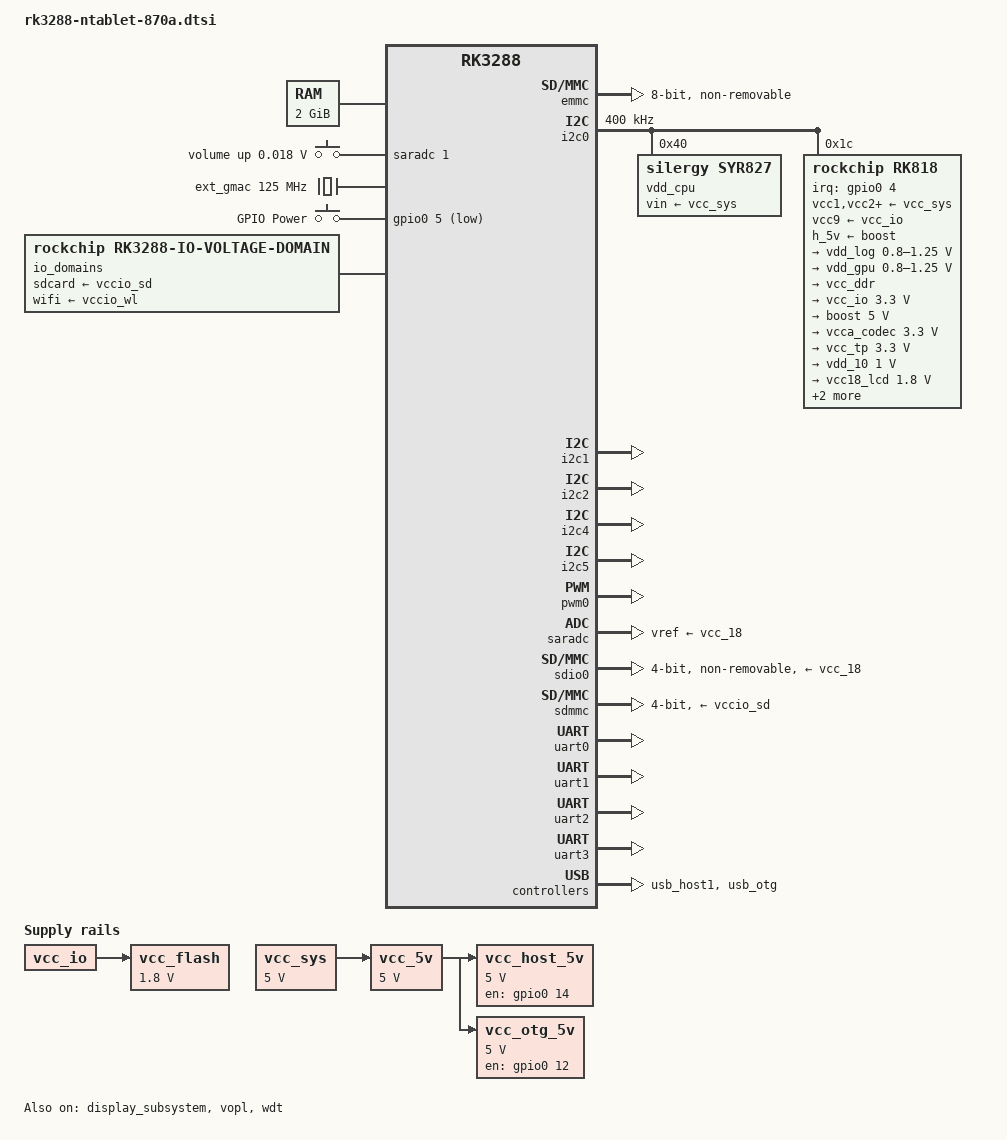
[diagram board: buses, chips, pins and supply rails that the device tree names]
/*
 * (C) Copyright 2019 YeaCreate Co., Ltd
 *
 * SPDX-License-Identifier:     GPL-2.0+ X11
 */

#include <dt-bindings/clock/rockchip,rk808.h>
#include <dt-bindings/pwm/pwm.h>
#include <dt-bindings/input/input.h>
#include <dt-bindings/media/rockchip_mipi_dsi.h>
#include "rk3288.dtsi"
#include "rk3288-u-boot.dtsi"

/ {
	memory {
		reg = <0 0x80000000>;
	};

	adc-keys {
		compatible = "adc-keys";
		io-channels = <&saradc 1>;
		status = "okay";
		keyup-threshold-microvolt = <1800000>;

		volup-key {
			linux,code = <KEY_VOLUMEUP>;
			label = "volume up";
			press-threshold-microvolt = <18000>;
		};
		
	};

	ext_gmac: external-gmac-clock {
		compatible = "fixed-clock";
		#clock-cells = <0>;
		clock-frequency = <125000000>;
		clock-output-names = "ext_gmac";
	};

	keys: gpio-keys {
		compatible = "gpio-keys";
		#address-cells = <1>;
		#size-cells = <0>;

		button@0 {
			gpio-key,wakeup = <1>;
			gpios = <&gpio0 5 GPIO_ACTIVE_LOW>;
			label = "GPIO Power";
			linux,code = <116>;
			pinctrl-names = "default";
			pinctrl-0 = <&pwr_key>;
		};
	};
	
	io_domains: io_domains {
		compatible = "rockchip,rk3288-io-voltage-domain";

		status = "okay";
		sdcard-supply = <&vccio_sd>;
		wifi-supply = <&vccio_wl>;
	};

	vcc_sys: vsys-regulator {
		compatible = "regulator-fixed";
		regulator-name = "vcc_sys";
		regulator-min-microvolt = <5000000>;
		regulator-max-microvolt = <5000000>;
		regulator-always-on;
		regulator-boot-on;
	};

	vcc_flash: flash-regulator {
		compatible = "regulator-fixed";
		regulator-name = "vcc_flash";
		regulator-min-microvolt = <1800000>;
		regulator-max-microvolt = <1800000>;
		vin-supply = <&vcc_io>;
	};

	vcc_5v: usb-regulator {
		compatible = "regulator-fixed";
		regulator-name = "vcc_5v";
		regulator-min-microvolt = <5000000>;
		regulator-max-microvolt = <5000000>;
		regulator-always-on;
		regulator-boot-on;
		vin-supply = <&vcc_sys>;
	};

	vcc_host_5v: usb-host-regulator {
		compatible = "regulator-fixed";
		enable-active-high;
		gpio = <&gpio0 14 GPIO_ACTIVE_HIGH>;
		pinctrl-names = "default";
		pinctrl-0 = <&host_vbus_drv>;
		regulator-name = "vcc_host_5v";
		regulator-min-microvolt = <5000000>;
		regulator-max-microvolt = <5000000>;
		regulator-always-on;
		vin-supply = <&vcc_5v>;
	};

	vcc_otg_5v: usb-otg-regulator {
		compatible = "regulator-fixed";
		enable-active-high;
		gpio = <&gpio0 12 GPIO_ACTIVE_HIGH>;
		pinctrl-names = "default";
		pinctrl-0 = <&otg_vbus_drv>;
		regulator-name = "vcc_otg_5v";
		regulator-min-microvolt = <5000000>;
		regulator-max-microvolt = <5000000>;
		regulator-always-on;
		vin-supply = <&vcc_5v>;
	};

};

&cpu0 {
	cpu0-supply = <&vdd_cpu>;
};

&display_subsystem {
	status = "okay";
};


&emmc {
	broken-cd;
	bus-width = <8>;
	cap-mmc-highspeed;
	disable-wp;
	non-removable;
	num-slots = <1>;
	pinctrl-names = "default";
	pinctrl-0 = <&emmc_clk>, <&emmc_cmd>, <&emmc_pwr>, <&emmc_bus8>;
	vqmmc-supply = <&vcc_flash>;
	status = "okay";
};


&i2c0 {
	clock-frequency = <400000>;
	status = "okay";

	vdd_cpu: syr827@40 {
		compatible = "silergy,syr827";
		fcs,suspend-voltage-selector = <1>;
		reg = <0x40>;
		regulator-name = "vdd_cpu";
		regulator-min-microvolt = <850000>;
		regulator-max-microvolt = <1350000>;
		regulator-always-on;
		regulator-boot-on;
		vin-supply = <&vcc_sys>;
	};

	rk818: pmic@1c {
		status = "okay";
		compatible = "rockchip,rk818";
		reg = <0x1c>;
		interrupt-parent = <&gpio0>;
		interrupts = <4 IRQ_TYPE_LEVEL_LOW>;
		pinctrl-names = "default";
		pinctrl-0 = <&pmic_int>;
		rockchip,system-power-controller;
		wakeup-source;
		#clock-cells = <1>;
		u-boot,dm-pre-reloc;

		vcc1-supply = <&vcc_sys>;
		vcc2-supply = <&vcc_sys>;
		vcc3-supply = <&vcc_sys>;
		vcc4-supply = <&vcc_sys>;
		vcc6-supply = <&vcc_sys>;
		vcc7-supply = <&vcc_sys>;
		vcc8-supply = <&vcc_sys>;
		vcc9-supply = <&vcc_io>;
		boost-supply = <&vcc_sys>;
		h_5v-supply = <&boost>;

		regulators {
			u-boot,dm-pre-reloc;
			vdd_log: DCDC_REG1 {
				regulator-name = "vdd_log";
				regulator-always-on;
				regulator-boot-on;
				regulator-min-microvolt = <800000>;
				regulator-max-microvolt = <1250000>;
				regulator-state-mem {
					regulator-off-in-suspend;
				};
			};

			vdd_gpu: DCDC_REG2 {
				regulator-name = "vdd_gpu";
				regulator-always-on;
				regulator-boot-on;
				regulator-min-microvolt = <800000>;
				regulator-max-microvolt = <1250000>;
				regulator-state-mem {
					regulator-on-in-suspend;
					regulator-suspend-microvolt = <1000000>;
				};
			};

			vcc_ddr: DCDC_REG3 {
				regulator-name = "vcc_ddr";
				regulator-always-on;
				regulator-boot-on;
				regulator-state-mem {
					regulator-on-in-suspend;
				};
			};

			vcc_io: DCDC_REG4 {
				regulator-always-on;
				regulator-boot-on;
				regulator-min-microvolt = <3300000>;
				regulator-max-microvolt = <3300000>;
				regulator-state-mem {
					regulator-on-in-suspend;
					regulator-suspend-microvolt = <3300000>;
				};
			};
			
			boost: DCDC_BOOST {
				regulator-always-on;
				regulator-boot-on;
				regulator-min-microvolt = <5000000>;
				regulator-max-microvolt = <5000000>;
				regulator-name = "boost";
				regulator-state-mem {
					regulator-on-in-suspend;
					regulator-suspend-microvolt = <5000000>;
				};
			};

			vcca_codec: LDO_REG1 {
				regulator-always-on;
				regulator-boot-on;
				regulator-min-microvolt = <3300000>;
				regulator-max-microvolt = <3300000>;
				regulator-name = "vcca_codec";
				regulator-state-mem {
					regulator-off-in-suspend;
				};
			};

			vcc_tp: LDO_REG2 {
				regulator-always-on;
				regulator-boot-on;
				regulator-min-microvolt = <3300000>;
				regulator-max-microvolt = <3300000>;
				regulator-name = "vcc_tp";
				regulator-state-mem {
					regulator-on-in-suspend;
					regulator-suspend-microvolt = <2500000>;
				};
			};

			vdd_10: LDO_REG3 {
				regulator-always-on;
				regulator-boot-on;
				regulator-min-microvolt = <1000000>;
				regulator-max-microvolt = <1000000>;
				regulator-name = "vdd_10";
				regulator-state-mem {
					regulator-on-in-suspend;
					regulator-suspend-microvolt = <1000000>;
				};
			};

			vcc18_lcd: LDO_REG4 {
				regulator-always-on;
				regulator-boot-on;
				regulator-min-microvolt = <1800000>;
				regulator-max-microvolt = <1800000>;
				regulator-name = "vcc18_lcd";
				regulator-state-mem {
					regulator-on-in-suspend;
					regulator-suspend-microvolt = <1800000>;
				};
			};
			
			vccio_pmu: LDO_REG5 {
				regulator-always-on;
				regulator-boot-on;
				regulator-min-microvolt = <3300000>;
				regulator-max-microvolt = <3300000>;
				regulator-name = "vccio_pmu";
				regulator-state-mem {
					regulator-on-in-suspend;
					regulator-suspend-microvolt = <3300000>;
				};
			};
			
			vdd10_lcd: LDO_REG6 {
				regulator-always-on;
				regulator-boot-on;
				regulator-min-microvolt = <1000000>;
				regulator-max-microvolt = <1000000>;
				regulator-name = "vdd10_lcd";
				regulator-state-mem {
					regulator-on-in-suspend;
					regulator-suspend-microvolt = <1000000>;
				};
			};

			vcc_18: LDO_REG7 {
				regulator-always-on;
				regulator-boot-on;
				regulator-min-microvolt = <1800000>;
				regulator-max-microvolt = <1800000>;
				regulator-name = "vcc_18";
				regulator-state-mem {
					regulator-off-in-suspend;
					regulator-suspend-microvolt = <1800000>;
				};
			};
			
			vccio_wl: LDO_REG8 {
				regulator-always-on;
				regulator-boot-on;
				regulator-min-microvolt = <1800000>;
				regulator-max-microvolt = <3300000>;
				regulator-name = "vccio_wl";
				regulator-state-mem {
					regulator-on-in-suspend;
					regulator-suspend-microvolt = <3300000>;
				};
			};

			vccio_sd: LDO_REG9 {
				regulator-always-on;
				regulator-boot-on;
				regulator-min-microvolt = <1800000>;
				regulator-max-microvolt = <3300000>;
				regulator-name = "vccio_sd";
				regulator-state-mem {
					regulator-on-in-suspend;
					regulator-suspend-microvolt = <3300000>;
				};
			};	

			vcc_sd: SWITCH_REG {
				regulator-always-on;
				regulator-boot-on;
				regulator-name = "vcc_sd";
				regulator-state-mem {
					regulator-on-in-suspend;
				};
			};

			h_5v: HDMI_SWITCH {
				regulator-always-on;
				regulator-boot-on;
				regulator-name = "h_5v";
				regulator-state-mem {
					regulator-on-in-suspend;
				};
			};
			
		};

		battery {
			compatible = "rk818-battery";
			//pinctrl-names = "default";
			//pinctrl-0 = <&dc_irq_gpio>;
			ocv_table = <
				2750 2950 3150 3350 3550 3750 3780
				3810 3840 3870 3900 3950 4000 4010
				4030 4050 4070 4090 4110 4230 4250>;
			design_capacity = <2800>;
			design_qmax = <2800>;
			bat_res = <85>;
			max_input_current = <2000>;
			max_chrg_current = <1000>;
			max_chrg_voltage = <4350>;
			sleep_enter_current = <300>;
			sleep_exit_current = <300>;
			sleep_filter_current = <100>;
			power_off_thresd = <2800>;
			zero_algorithm_vol = <3950>;
			fb_temperature = <105>;
			sample_res = <10>;
			max_soc_offset = <60>;
			energy_mode = <0>;
			monitor_sec = <5>;
			virtual_power = <0>;
			power_dc2otg = <1>;
			support_usb_adp = <1>;
			support_dc_adp = <1>;
			dc_det_gpio = <&gpio0 8 GPIO_ACTIVE_LOW>;
		};
	};
};

&i2c1 {
	status = "okay";
};

&i2c2 {
	status = "okay";
};

&i2c4 {
	status = "okay";
};

&i2c5 {
	status = "okay";
};

&pwm0 {
	status = "okay";
};

&saradc {
	vref-supply = <&vcc_18>;
	status = "okay";
};

&sdio0 {
	broken-cd;
	bus-width = <4>;
	disable-wp;
	non-removable;
	num-slots = <1>;
	pinctrl-names = "default";
	pinctrl-0 = <&sdio0_bus4>, <&sdio0_cmd>, <&sdio0_clk>;
	vmmc-supply = <&vcc_18>;
	status = "okay";
};

&sdmmc {
	bus-width = <4>;
	cap-mmc-highspeed;
	cap-sd-highspeed;
	card-detect-delay = <200>;
	disable-wp;
	num-slots = <1>;
	pinctrl-names = "default";
	pinctrl-0 = <&sdmmc_clk>, <&sdmmc_cmd>, <&sdmmc_cd>, <&sdmmc_bus4>;
	vmmc-supply = <&vccio_sd>;
	status = "okay";
};


&uart0 {
	pinctrl-names = "default";
	pinctrl-0 = <&uart0_xfer>, <&uart0_cts>, <&uart0_rts>;
	status = "okay";
};

&uart1 {
	status = "okay";
};

&uart2 {
	status = "okay";
};

&uart3 {
	status = "okay";
};

&usb_host1 {
	status = "okay";
};

&usb_otg {
	status = "okay";
};

&vopl {
	status = "okay";
};

&wdt {
	status = "okay";
};

&pinctrl {
	pcfg_output_high: pcfg-output-high {
		output-high;
	};

	pcfg_output_low: pcfg-output-low {
		output-low;
	};	

	pmic {
		pmic_int: pmic-int {
			rockchip,pins = <RK_GPIO0 4 RK_FUNC_GPIO &pcfg_pull_up>;
		};
		vsel1_gpio: vsel1-gpio {
			rockchip,pins = <RK_GPIO0 0 RK_FUNC_GPIO &pcfg_pull_down>;
		};
	};

	keys {
		pwr_key: pwr-key {
			rockchip,pins = <0 5 RK_FUNC_GPIO &pcfg_pull_up>;
		};
	};

	sdmmc {
		sdmmc_pwr: sdmmc-pwr {
			rockchip,pins = <7 11 RK_FUNC_GPIO &pcfg_pull_none>;
		};
	};

	usb_host {
		host_vbus_drv: host-vbus-drv {
			rockchip,pins = <0 14 RK_FUNC_GPIO &pcfg_pull_none>;
		};
	};

	usb_otg {
		otg_vbus_drv: otg-vbus-drv {
			rockchip,pins = <0 12 RK_FUNC_GPIO &pcfg_pull_none>;
		};
	};
};
